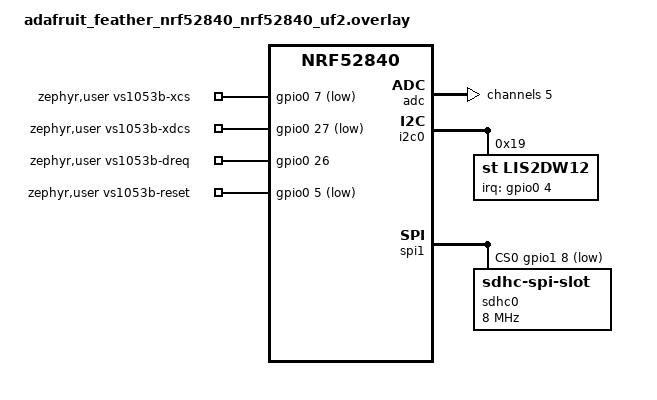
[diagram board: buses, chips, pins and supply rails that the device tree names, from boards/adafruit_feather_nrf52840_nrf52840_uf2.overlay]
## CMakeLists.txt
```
cmake_minimum_required(VERSION 3.20.0)
find_package(Zephyr REQUIRED HINTS $ENV{ZEPHYR_BASE})
project(bleatbox)

target_sources(app PRIVATE
    src/main.c
    src/accel.c
    src/battery.c
    src/vs1053b.c
    src/sdcard.c
    src/audio.c
    src/ble.c
    src/ota.c
    ${CMAKE_CURRENT_SOURCE_DIR}/../common/fw_image.c
    src/broadcast_log.c
    src/broadcast_log_core.c
    src/compose.c
    src/sounds.c
    src/wrap_to_range.c
    src/device_config.c
    src/device_config_parse.c
    src/sounds_match.c
    src/message.c
)

target_sources_ifdef(CONFIG_SHELL app PRIVATE
    src/shell.c
)

# fw_image.{c,h} is shared with the updater and host tests.
target_include_directories(app PRIVATE ${CMAKE_CURRENT_SOURCE_DIR}/../common)
```

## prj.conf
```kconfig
# Bluetooth
CONFIG_BT=y
CONFIG_BT_BROADCASTER=y
CONFIG_BT_OBSERVER=y
CONFIG_BT_EXT_ADV=y
CONFIG_BT_CTLR_ADV_EXT=y
# Two advertising sets: the mesh's non-connectable set + the OTA window's
# connectable set used for SMP-over-BLE.
CONFIG_BT_EXT_ADV_MAX_ADV_SET=2
CONFIG_BT_CTLR_ADV_DATA_LEN_MAX=128
CONFIG_BT_CTLR_SCAN_DATA_LEN_MAX=128
# Transmit at the nRF52840's maximum +8 dBm (default is 0 dBm) to extend mesh
# range. Applies to every role: the advertising bursts, relays, and the OTA
# connectable window.
CONFIG_BT_CTLR_TX_PWR_PLUS_8=y

# OTA: become connectable during an update window so an operator can push a
# firmware image over SMP-over-BLE. A per-device name is set at arm time.
CONFIG_BT_PERIPHERAL=y
CONFIG_BT_DEVICE_NAME_DYNAMIC=y
CONFIG_BT_DEVICE_NAME_MAX=24

# SMP / mcumgr over BLE — File System group for `mcumgr fs upload` of the
# image to the SD card, and OS group for `mcumgr reset` as a commit path.
# Image (img_mgmt) group is intentionally NOT used: no MCUboot here.
CONFIG_ZCBOR=y
CONFIG_MCUMGR=y
CONFIG_MCUMGR_TRANSPORT_BT=y
CONFIG_MCUMGR_GRP_FS=y
CONFIG_MCUMGR_GRP_OS=y

# SMP-over-BLE upload tuning (mirrors Zephyr's smp_svr bt.conf).
# REASSEMBLY lets an SMP request span several BLE writes — without it any
# upload chunk larger than one MTU is parsed as a corrupt frame (ECORRUPT).
# MCUMGR_PARAMS reports the buffer size so the host sizes chunks to fit; the
# larger MTU/ACL/data-length and 2475-byte netbuf make the transfer fast
# enough to finish inside the OTA window.
CONFIG_MCUMGR_TRANSPORT_BT_REASSEMBLY=y
CONFIG_MCUMGR_GRP_OS_MCUMGR_PARAMS=y
CONFIG_MCUMGR_TRANSPORT_NETBUF_SIZE=2475
CONFIG_MCUMGR_TRANSPORT_WORKQUEUE_STACK_SIZE=4608
CONFIG_MCUMGR_TRANSPORT_BT_CONN_PARAM_CONTROL=y
CONFIG_BT_L2CAP_TX_MTU=498
CONFIG_BT_BUF_ACL_RX_SIZE=502
CONFIG_BT_BUF_ACL_TX_SIZE=502
CONFIG_BT_CTLR_DATA_LENGTH_MAX=251

# GPIO
CONFIG_GPIO=y

# I2C (LIS2DW12 accelerometer)
CONFIG_I2C=y

# SPI
CONFIG_SPI=y

# ADC (battery voltage monitor via SAADC)
CONFIG_ADC=y

# Sensor subsystem (LIS2DW12 accelerometer)
CONFIG_SENSOR=y
CONFIG_LIS2DW12=y
CONFIG_LIS2DW12_TRIGGER_GLOBAL_THREAD=y
CONFIG_LIS2DW12_WAKEUP=y

# SD card (SDMMC auto-selects SD_STACK -> SDHC)
CONFIG_SDMMC_STACK=y

# Filesystem
CONFIG_FILE_SYSTEM=y
CONFIG_FAT_FILESYSTEM_ELM=y
CONFIG_FS_FATFS_LFN=y
CONFIG_FS_FATFS_LFN_MODE_HEAP=y

# Disk
CONFIG_DISK_ACCESS=y
CONFIG_DISK_DRIVERS=y

# Shell
CONFIG_SHELL=y
CONFIG_SHELL_STACK_SIZE=4096

# Reboot — the `bootloader` shell command reboots into the UF2 bootloader
CONFIG_REBOOT=y

# Logging
CONFIG_LOG=y
CONFIG_LOG_DEFAULT_LEVEL=3

# Random number generator
CONFIG_ENTROPY_GENERATOR=y
CONFIG_TEST_RANDOM_GENERATOR=n

# USB device descriptor
CONFIG_CDC_ACM_SERIAL_VID=0x2FE3
CONFIG_CDC_ACM_SERIAL_PID=0x0004
CONFIG_CDC_ACM_SERIAL_MANUFACTURER_STRING="BleatBox"
CONFIG_CDC_ACM_SERIAL_PRODUCT_STRING="BleatBox"

# Power management
CONFIG_PM=y
CONFIG_PM_DEVICE=y

# nRF52840 DC-DC converter (board has the required inductor; more
# efficient than the default LDO).  The board devicetree requests
# DCDC mode, but the regulator driver must be enabled to apply it.
CONFIG_REGULATOR=y

# System
# Heap raised from 8 KB to cover mcumgr/zcbor + SMP buffers during an OTA
# window (in addition to the FAT LFN heap).
CONFIG_HEAP_MEM_POOL_SIZE=16384
CONFIG_MAIN_STACK_SIZE=4096

# Stack overflow detection via MPU — zero runtime cost on nRF52840,
# catches corruption from FAT FS and SPI driver stack usage
CONFIG_HW_STACK_PROTECTION=y

# UF2 output for drag-and-drop flashing
CONFIG_BUILD_OUTPUT_UF2=y

# Use flash partition layout from device tree (UF2 bootloader)
CONFIG_USE_DT_CODE_PARTITION=y
```

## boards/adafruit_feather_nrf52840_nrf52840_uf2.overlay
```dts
/*
 * Devicetree overlay for Adafruit Feather nRF52840 Express
 * with Adafruit Music Maker FeatherWing (VS1053B + SD card)
 * and LIS2DW12 accelerometer.
 *
 * Feather pin mapping (nRF52840 GPIO):
 *   D5  = P1.08  ->  SD card CS (directly on FeatherWing)
 *   D6  = P0.07  ->  VS1053B XCS  (SCI command chip select)
 *   D9  = P0.26  ->  VS1053B DREQ (data request, active high)
 *   D10 = P0.27  ->  VS1053B XDCS (SDI data chip select)
 *   A0  = P0.04  ->  LIS2DW12 INT1 (wakeup interrupt)
 *   A1  = P0.05  ->  VS1053B XRESET (hardware reset, active low).
 *                    Requires the FeatherWing RST jumper cut and the
 *                    rst pad wired to A1; lets firmware hold the codec
 *                    in reset (~12 uA) when idle.
 *
 *   SPI bus (feather header):
 *     SCK  = P0.14
 *     MOSI = P0.13
 *     MISO = P0.15
 *
 *   I2C bus (feather header):
 *     SDA  = P0.12
 *     SCL  = P0.11
 *
 *   Battery sense (Feather rev D):
 *     P0.29 = AIN5  ->  VBAT through an on-board 100k/100k divider.
 *                       The divider (the `vbatt` node) is defined by the
 *                       board devicetree; this overlay only adds the
 *                       matching SAADC channel.
 */

#include <zephyr/dt-bindings/adc/adc.h>
#include <zephyr/dt-bindings/adc/nrf-saadc.h>

/* OTA flash split: updater @0x26000, this app @0x3e000. */
#include "../../common/bleatbox-partitions.dtsi"

/ {
	chosen {
		/* The app runs from main_app; the updater owns 0x26000. */
		zephyr,code-partition = &main_app;
	};

	aliases {
		sdhc0 = &sdhc0;
	};

	/*
	 * Application-specific GPIOs for the VS1053B codec.
	 * XCS and XDCS are SPI chip selects managed via spi_cs_control
	 * (not gpio-leds) so the SPI driver handles bus locking atomically.
	 * DREQ is a pure input — polled to gate SPI transfers.
	 * XRESET (active low) holds the codec in hardware reset when idle.
	 */
	zephyr,user {
		vs1053b-xcs-gpios = <&gpio0 7 GPIO_ACTIVE_LOW>;
		vs1053b-xdcs-gpios = <&gpio0 27 GPIO_ACTIVE_LOW>;
		vs1053b-dreq-gpios = <&gpio0 26 GPIO_ACTIVE_HIGH>;
		vs1053b-reset-gpios = <&gpio0 5 GPIO_ACTIVE_LOW>;
	};
};

&uart0 {
	status = "disabled";
};

/*
 * SAADC channel for the battery-sense divider on AIN5 (P0.29).
 * Gain 1/6 with the 0.6 V internal reference gives a 3.6 V full-scale
 * range, comfortably above the divided VBAT (~2.1 V at 4.2 V battery).
 */
&adc {
	#address-cells = <1>;
	#size-cells = <0>;

	channel@5 {
		reg = <5>;
		zephyr,gain = "ADC_GAIN_1_6";
		zephyr,reference = "ADC_REF_INTERNAL";
		zephyr,acquisition-time = <ADC_ACQ_TIME(ADC_ACQ_TIME_MICROSECONDS, 10)>;
		zephyr,input-positive = <NRF_SAADC_AIN5>;
		zephyr,resolution = <12>;
	};
};

&i2c0 {
	lis2dw12: lis2dw12@19 {
		compatible = "st,lis2dw12";
		reg = <0x19>;
		irq-gpios = <&gpio0 4 GPIO_ACTIVE_HIGH>;
		int-pin = <1>;
		power-mode = <0>; /* LP mode 1 (12-bit) */
		odr = <100>;
		range = <2>;
		wakeup-duration = <0>; /* 1 ODR cycle above threshold */
	};
};

&spi1 {
	status = "okay";
	cs-gpios = <&gpio1 8 GPIO_ACTIVE_LOW>;

	sdhc0: sdhc@0 {
		compatible = "zephyr,sdhc-spi-slot";
		reg = <0>;
		spi-max-frequency = <8000000>;
		status = "okay";

		mmc {
			compatible = "zephyr,sdmmc-disk";
			disk-name = "SD";
			status = "okay";
		};
	};
};
```

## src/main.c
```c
/*
 * BleatBox — Networked sound trigger firmware
 *
 * Hardware: Adafruit Feather nRF52840 Express
 *           Adafruit Music Maker FeatherWing (VS1053B codec + SD card)
 *           LIS2DW12 accelerometer on I2C0, INT1 on A0 (P0.04)
 *
 * Architecture: event-driven main loop.
 *
 * The vibration and BLE modules are pure event producers — they push
 * events into a shared k_msgq with no knowledge of each other or the
 * audio subsystem.  The main loop is the sole consumer: it waits for
 * events, decides whether to act, and orchestrates BLE broadcasting
 * and sound playback.
 */

#include <zephyr/kernel.h>
#include <zephyr/drivers/gpio.h>
#include <zephyr/logging/log.h>

#include "compose.h"
#include "device_config.h"
#include "events.h"
#include "accel.h"
#include "battery.h"
#include "sdcard.h"
#include "sounds.h"
#include "audio.h"
#include "ble.h"
#include "ota.h"

LOG_MODULE_REGISTER(bleatbox, LOG_LEVEL_INF);

/* ------------------------------------------------------------------ */
/* Onboard LED (boot indicator)                                       */
/* ------------------------------------------------------------------ */

#define LED0_NODE DT_ALIAS(led0)
static const struct gpio_dt_spec g_led = GPIO_DT_SPEC_GET(LED0_NODE, gpios);

/* ------------------------------------------------------------------ */
/* Compile-time configuration                                         */
/* ------------------------------------------------------------------ */

/* Sound played locally when this device detects vibration. */
#define VIBRATION_SOUND_INDEX 0

/* ------------------------------------------------------------------ */
/* Event queue                                                        */
/* ------------------------------------------------------------------ */

/*
 * Depth 4: enough to buffer a burst of events while the main loop
 * is handling one.  Excess events are silently dropped at the
 * producer (k_msgq_put with K_NO_WAIT), which is the desired
 * behavior — we never queue up a backlog of sounds.
 */
#define EVENT_QUEUE_DEPTH 4
K_MSGQ_DEFINE(event_q, sizeof(struct event), EVENT_QUEUE_DEPTH, 4);

/* ------------------------------------------------------------------ */
/* Vibration cooldown                                                 */
/* ------------------------------------------------------------------ */

#define VIBRATION_COOLDOWN_MS 1000

static volatile bool g_drop_vibration_events;

static void cooldown_expired(struct k_timer *timer)
{
    ARG_UNUSED(timer);
    g_drop_vibration_events = false;
    LOG_INF("Vibration cooldown expired");
}

static K_TIMER_DEFINE(g_vibration_cooldown_timer, cooldown_expired, NULL);

/* ------------------------------------------------------------------ */
/* Event handlers                                                     */
/* ------------------------------------------------------------------ */

static void handle_vibration(void)
{
    if (ota_is_active()) {
        LOG_INF("Vibration dropped — OTA update in progress");
        return;
    }

    /*
     * A playing sound (e.g. a BLE-assigned one) shakes the enclosure;
     * don't broadcast assignments for vibration we likely caused
     * ourselves while our own playback request would be discarded.
     * This also covers the window between a claim and the main loop
     * processing its EVENT_AUDIO_START.
     */
    if (audio_is_playing()) {
        LOG_INF("Vibration dropped — sound already playing");
        return;
    }

    LOG_INF("Vibration detected");

    char path[32];
    int ret = sounds_get_path(SOUND_TYPE_GOAT, VIBRATION_SOUND_INDEX,
                              path, sizeof(path));
    if (ret) {
        LOG_ERR("Cannot resolve sound %u: %d", VIBRATION_SOUND_INDEX, ret);
        return;
    }

    if (audio_play_sound(path, 0)) {
        /* Lost a race with another codec claim — don't broadcast a
         * message for a sound we didn't play. */
        return;
    }

    uint8_t payload[16];
    int err = compose_message(payload);
    if (err) {
        LOG_WRN("Message compose failed (%d) — check config and sound count",
                err);
        return;
    }

    LOG_INF("Broadcasting bleat message");
    ble_broadcast_message(payload);
}

static void handle_ble_rx(const struct event *evt)
{
    if (ota_is_active()) {
        LOG_INF("BLE RX dropped — OTA update in progress");
        return;
    }

    if (audio_is_playing()) {
        LOG_INF("BLE RX dropped — sound already playing");
        return;
    }

    enum sound_type type = ble_sound_decode_type(evt->sound);
    uint8_t index = ble_sound_decode_index(evt->sound);
    const char *type_name = (type == SOUND_TYPE_MISC) ? "misc" : "goat";

    char path[32];
    int ret = sounds_get_path(type, index, path, sizeof(path));
    if (ret) {
        LOG_WRN("BLE RX dropped — no %s sound %u", type_name, index);
        return;
    }

    LOG_INF("BLE RX assignment: %s sound %u delay=%u ms",
            type_name, index, evt->delay_ms);

    audio_play_sound(path, evt->delay_ms);
}

/* ------------------------------------------------------------------ */
/* Main                                                               */
/* ------------------------------------------------------------------ */

int main(void)
{
    LOG_INF("BleatBox firmware starting");

    /* --- Boot indicator (blink LED 3 times) --- */
    if (gpio_is_ready_dt(&g_led)) {
        gpio_pin_configure_dt(&g_led, GPIO_OUTPUT_INACTIVE);
        for (int i = 0; i < 3; i++) {
            gpio_pin_set_dt(&g_led, 1);
            k_msleep(100);
            gpio_pin_set_dt(&g_led, 0);
            k_msleep(100);
        }
    }

    if (audio_init(&event_q)) {
        LOG_ERR("Audio init failed — playback disabled");
    }
    sdcard_init();
    sounds_init();
    if (accel_init(&event_q)) {
        LOG_ERR("Accelerometer init failed — vibration triggers disabled");
    }
    if (battery_init()) {
        LOG_ERR("Battery monitor init failed — battery reads disabled");
    }
    if (ble_init(&event_q)) {
        LOG_ERR("BLE init failed — broadcasts and relays disabled");
    }
    if (ota_init(&event_q)) {
        LOG_ERR("OTA init failed — over-the-air updates disabled");
    }

    struct device_config cfg;
    device_config_defaults(&cfg);

    if (sdcard_mount()) {
        LOG_ERR("SD card mount failed — playback disabled, using default config");
    } else {
        if (sounds_scan()) {
            LOG_ERR("Sound scan failed — playback disabled");
        }
        if (device_config_load(&cfg)) {
            LOG_ERR("Device config load failed — using default config");
            device_config_defaults(&cfg);
        }
    }

    /* --- Volume from config --- */
    audio_set_volume(cfg.volume);

    /* --- Message composition config --- */
    compose_init(cfg.delay_min_ms, cfg.delay_max_ms,
                 VIBRATION_SOUND_INDEX + 1,
                 sounds_get_count(SOUND_TYPE_GOAT));

    /* --- Start producers (any-motion interrupt, BLE scan) --- */
    if (accel_start(cfg.accel_threshold_mg)) {
        LOG_ERR("Accelerometer start failed — vibration triggers disabled");
    }
    if (ble_start(cfg.id, cfg.relay_ttl)) {
        LOG_ERR("BLE start failed — broadcasts and relays disabled");
    }
    ota_set_device_id(cfg.id);

    g_drop_vibration_events = false;

    LOG_INF("BleatBox ready — waiting for events");

    /* --- Event loop --- */
    struct event evt;
    for (;;) {
        /*
         * Block until an event arrives.  While blocked, the idle
         * thread runs and the nRF52840 enters System ON idle (ARM
         * WFE) — the lowest power state that keeps BLE scanning
         * alive.
         */
        k_msgq_get(&event_q, &evt, K_FOREVER);

        switch (evt.type) {
        case EVENT_VIBRATION:
            if (g_drop_vibration_events) {
                LOG_INF("Vibration dropped — cooldown active");
            } else {
                handle_vibration();
            }
            break;
        case EVENT_BLE_RX:
            handle_ble_rx(&evt);
            break;
        case EVENT_AUDIO_START:
            /*
             * Suppress vibration triggers for the whole audio
             * session. Stop any pending cooldown timer so a stale
             * expiry from a previous playback can't clear the flag
             * while this one is still running.
             */
            k_timer_stop(&g_vibration_cooldown_timer);
            g_drop_vibration_events = true;
            break;
        case EVENT_AUDIO_DONE:
            /* Keep suppressing until the enclosure rings down. */
            k_timer_start(&g_vibration_cooldown_timer,
                          K_MSEC(VIBRATION_COOLDOWN_MS), K_NO_WAIT);
            break;
        case EVENT_OTA_ARM:
            ota_start();
            break;
        case EVENT_OTA_CANCEL:
            ota_cancel();
            break;
        }
    }

    return 0; /* unreachable */
}
```

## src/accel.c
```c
/*
 * LIS2DW12 accelerometer — wakeup event producer.
 */

#include <zephyr/kernel.h>
#include <zephyr/device.h>
#include <zephyr/devicetree.h>
#include <zephyr/drivers/i2c.h>
#include <zephyr/drivers/sensor.h>
#include <zephyr/logging/log.h>

#include "accel.h"
#include "events.h"

LOG_MODULE_REGISTER(accel, LOG_LEVEL_INF);

#define LIS2DW12_REG_CTRL1 0x20

/*
 * 100 Hz, low-power mode 1: ODR[7:4]=0101, MODE[3:2]=00, LP_MODE[1:0]=01.
 */
#define LIS2DW12_ODR_100HZ_LP1 0x51

static const struct device *g_accel_dev =
    DEVICE_DT_GET(DT_NODELABEL(lis2dw12));

static const struct i2c_dt_spec g_i2c_spec =
    I2C_DT_SPEC_GET(DT_NODELABEL(lis2dw12));

static struct k_msgq *g_evt_q;

/* Set in accel_init() once the device is confirmed ready; gates
 * accel_start() so it never touches an unready peripheral. */
static bool g_ready;

/* Most recent threshold applied via accel_set_threshold(), in milli-g.
 * 0 until the first successful set (accel_start() applies the configured
 * value during startup). */
static uint16_t g_threshold_mg;

/*
 * The sensor API stores this pointer (the LIS2DW12 driver hands it
 * back on every interrupt), so it must outlive accel_init().
 */
static const struct sensor_trigger g_motion_trigger = {
    .type = SENSOR_TRIG_MOTION,
    .chan = SENSOR_CHAN_ACCEL_XYZ,
};

static void accel_trigger_handler(const struct device *dev,
                                  const struct sensor_trigger *trig)
{
    struct event evt = {.type = EVENT_VIBRATION};
    k_msgq_put(g_evt_q, &evt, K_NO_WAIT);
}

int accel_init(struct k_msgq *event_q)
{
    g_evt_q = event_q;
    g_threshold_mg = 0;
    g_ready = device_is_ready(g_accel_dev);

    if (!g_ready) {
        LOG_ERR("LIS2DW12 device not ready");
        return -ENODEV;
    }

    LOG_INF("LIS2DW12 initialized");
    return 0;
}

int accel_set_threshold(uint16_t threshold_mg)
{
    if (!g_ready) {
        return -ENODEV;
    }

    /* Set wakeup threshold via the driver's attr interface.
     * Convert mg to m/s²: val = mg * 9.807 / 1000. */
    uint32_t ums2 = (uint32_t)threshold_mg * 9807;
    struct sensor_value threshold_val = {
        .val1 = ums2 / 1000000,
        .val2 = ums2 % 1000000,
    };

    int ret = sensor_attr_set(g_accel_dev, SENSOR_CHAN_ACCEL_XYZ,
                              SENSOR_ATTR_UPPER_THRESH, &threshold_val);
    if (ret) {
        LOG_ERR("Failed to set wakeup threshold: %d", ret);
        return ret;
    }

    g_threshold_mg = threshold_mg;
    return 0;
}

int accel_get_threshold(uint16_t *threshold_mg)
{
    if (!g_ready) {
        return -ENODEV;
    }

    *threshold_mg = g_threshold_mg;
    return 0;
}

int accel_start(uint16_t threshold_mg)
{
    if (!g_ready) {
        return -ENODEV;
    }

    int ret = accel_set_threshold(threshold_mg);
    if (ret) {
        return ret;
    }

    /* Register wakeup trigger — begins producing EVENT_VIBRATION. */
    ret = sensor_trigger_set(g_accel_dev, &g_motion_trigger,
                             accel_trigger_handler);
    if (ret) {
        LOG_ERR("Failed to set trigger: %d", ret);
        return ret;
    }

    LOG_INF("LIS2DW12 started — threshold %u mg", threshold_mg);
    return 0;
}

int accel_sample_xyz(struct sensor_value *x,
                     struct sensor_value *y,
                     struct sensor_value *z)
{
    int ret = sensor_sample_fetch(g_accel_dev);
    if (ret) {
        return ret;
    }

    ret = sensor_channel_get(g_accel_dev, SENSOR_CHAN_ACCEL_X, x);
    if (ret) {
        return ret;
    }
    ret = sensor_channel_get(g_accel_dev, SENSOR_CHAN_ACCEL_Y, y);
    if (ret) {
        return ret;
    }
    return sensor_channel_get(g_accel_dev, SENSOR_CHAN_ACCEL_Z, z);
}

int accel_odr_boost(uint8_t *prev_ctrl1)
{
    int ret = i2c_reg_read_byte_dt(&g_i2c_spec, LIS2DW12_REG_CTRL1,
                                   prev_ctrl1);
    if (ret) {
        return ret;
    }
    return i2c_reg_write_byte_dt(&g_i2c_spec, LIS2DW12_REG_CTRL1,
                                 LIS2DW12_ODR_100HZ_LP1);
}

int accel_odr_restore(uint8_t prev_ctrl1)
{
    return i2c_reg_write_byte_dt(&g_i2c_spec, LIS2DW12_REG_CTRL1,
                                 prev_ctrl1);
}
```

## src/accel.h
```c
/*
 * LIS2DW12 accelerometer — wakeup event producer.
 *
 * Configures the accelerometer in low-power mode with a wakeup
 * interrupt threshold and pushes EVENT_VIBRATION into the provided
 * message queue on each trigger.
 */

#ifndef ACCEL_H_
#define ACCEL_H_

#include <zephyr/kernel.h>
#include <zephyr/drivers/sensor.h>

/**
 * Initialize the LIS2DW12 accelerometer module.
 *
 * Stores the event queue and verifies the device is ready.  Does not
 * configure or arm the wakeup interrupt — call accel_start() for that.
 *
 * @param event_q       Message queue to push EVENT_VIBRATION events into.
 * @return 0 on success, negative errno on failure.
 */
int accel_init(struct k_msgq *event_q);

/**
 * Configure the wakeup threshold and arm the motion trigger.
 *
 * After this call the accelerometer begins pushing EVENT_VIBRATION
 * events into the queue passed to accel_init().
 *
 * @param threshold_mg  Wakeup threshold in milli-g (e.g. 200 = 200 mg).
 * @return 0 on success, negative errno on failure (including -ENODEV
 *         if accel_init() did not succeed).
 */
int accel_start(uint16_t threshold_mg);

/**
 * Update the wakeup threshold on the live accelerometer.
 *
 * Applies immediately without re-arming the trigger; does not persist
 * to the SD-card config.
 *
 * @param threshold_mg  Wakeup threshold in milli-g (e.g. 200 = 200 mg).
 * @return 0 on success, negative errno on failure (including -ENODEV
 *         if accel_init() did not succeed).
 */
int accel_set_threshold(uint16_t threshold_mg);

/**
 * Get the most recently applied wakeup threshold.
 *
 * @param[out] threshold_mg  Current threshold in milli-g.
 * @return 0 on success, -ENODEV if accel_init() did not succeed.
 */
int accel_get_threshold(uint16_t *threshold_mg);

/**
 * Read a single XYZ acceleration sample.
 *
 * @param[out] x  X-axis acceleration.
 * @param[out] y  Y-axis acceleration.
 * @param[out] z  Z-axis acceleration.
 * @return 0 on success, negative errno on failure.
 */
int accel_sample_xyz(struct sensor_value *x,
                     struct sensor_value *y,
                     struct sensor_value *z);

/**
 * Temporarily set the ODR to 100 Hz for interactive sampling.
 *
 * @param[out] prev_ctrl1  Previous CTRL1 register value (for restore).
 * @return 0 on success, negative errno on failure.
 */
int accel_odr_boost(uint8_t *prev_ctrl1);

/**
 * Restore the CTRL1 register to a previous value.
 *
 * @param prev_ctrl1  Value returned by accel_odr_boost().
 * @return 0 on success, negative errno on failure.
 */
int accel_odr_restore(uint8_t prev_ctrl1);

#endif /* ACCEL_H_ */
```

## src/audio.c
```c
/*
 * Audio subsystem — sound playback via VS1053B codec.
 *
 * Playback runs on a dedicated background thread.  audio_play_sound()
 * signals the thread and returns immediately so the caller is never
 * blocked during audio streaming.
 */

#include <zephyr/kernel.h>
#include <zephyr/device.h>
#include <zephyr/devicetree.h>
#include <zephyr/drivers/spi.h>
#include <zephyr/fs/fs.h>
#include <zephyr/logging/log.h>
#include <zephyr/sys/atomic.h>

#include <string.h>

#include "audio.h"
#include "events.h"
#include "sdcard.h"
#include "vs1053b.h"

LOG_MODULE_REGISTER(audio, LOG_LEVEL_INF);

/*
 * Optional VS1053B firmware patch, applied after every power-up
 * (hardware reset wipes it).  Compiled by scripts/compile_patch.py;
 * absent file means no patch — not an error.
 */
#define AUDIO_PATCH_PATH SDCARD_MOUNT_POINT "/patch.bin"

/* ------------------------------------------------------------------ */
/* Hardware                                                           */
/* ------------------------------------------------------------------ */

static const struct device *g_spi_dev = DEVICE_DT_GET(DT_NODELABEL(spi1));
static struct k_msgq *g_event_q;

/*
 * Set (via compare-and-set) by whoever claims the codec — a playback
 * request or the sine test — and cleared when the codec goes idle.
 */
static atomic_t g_playing;

/* Sine test currently running.  Only touched by audio_sine_test()
 * (shell thread), under the g_playing claim. */
static bool g_sine_active;

/* Set in audio_init() once the SPI bus and codec are up.  When false
 * (init failed), every operate path is a graceful no-op so the rest of
 * the system still runs without a usable codec. */
static bool g_ready;

#define SOUND_PATH_MAX 32

struct play_request {
    char path[SOUND_PATH_MAX];
    uint16_t delay_ms;
};

K_MSGQ_DEFINE(g_play_q, sizeof(struct play_request), 1, 4);

#define AUDIO_STACK_SIZE 4096
#define AUDIO_PRIORITY 5

static void playback_thread(void *p1, void *p2, void *p3);
K_THREAD_DEFINE(audio_tid, AUDIO_STACK_SIZE,
                playback_thread, NULL, NULL, NULL,
                AUDIO_PRIORITY, 0, 0);

int audio_init(struct k_msgq *event_q)
{
    g_event_q = event_q;
    atomic_set(&g_playing, 0);
    g_sine_active = false;
    g_ready = false;

    if (!device_is_ready(g_spi_dev)) {
        LOG_ERR("SPI device not ready — audio disabled");
        return -ENODEV;
    }

    int ret = vs1053b_init(g_spi_dev);
    if (ret) {
        LOG_ERR("VS1053B init failed: %d — audio disabled", ret);
        return ret;
    }

    /* vs1053b_init() leaves the codec in hardware reset (~12 uA) until
     * the first playback.  audio_set_volume() can still be called — it
     * caches the value that vs1053b_power_up() applies on wake. */

    g_ready = true;
    LOG_INF("Audio initialized");
    return 0;
}

/*
 * Read one big-endian uint16_t from the file.
 * Returns 0 on success, -EIO on short/failed read.
 */
static int read_u16(struct fs_file_t *f, uint16_t *val)
{
    uint8_t buf[2];

    if (fs_read(f, buf, 2) != 2) {
        return -EIO;
    }
    *val = ((uint16_t)buf[0] << 8) | buf[1];
    return 0;
}

/*
 * Patch file format (repeated until EOF), as written by
 * scripts/compile_patch.py:
 *   [register: 1 byte] [count: 2 bytes BE] [data: count x 2 bytes BE]
 */
static int apply_patch_records(struct fs_file_t *f)
{
    for (;;) {
        uint8_t reg;
        ssize_t n = fs_read(f, &reg, 1);
        if (n == 0) {
            return 0; /* EOF — all records applied */
        }
        if (n != 1) {
            return -EIO; /* read error is not EOF — don't claim success */
        }

        uint16_t count;
        int ret = read_u16(f, &count);
        if (ret) {
            return ret;
        }

        for (uint16_t i = 0; i < count; i++) {
            uint16_t val;
            ret = read_u16(f, &val);
            if (ret) {
                return ret;
            }
            ret = vs1053b_write_reg(reg, val);
            if (ret) {
                return ret;
            }
        }
    }
}

/* A missing patch file is normal; anything else is logged. */
static void apply_patch_if_present(void)
{
    /* Stat first: a missing patch is the common case, and fs_open would log
     * its own "file open error" for it.  fs_stat treats -ENOENT as a normal,
     * unlogged result, so the no-patch path stays quiet. */
    struct fs_dirent entry;

    if (fs_stat(AUDIO_PATCH_PATH, &entry) < 0) {
        return;
    }

    struct fs_file_t f;
    fs_file_t_init(&f);

    if (fs_open(&f, AUDIO_PATCH_PATH, FS_O_READ) < 0) {
        return;
    }

    int ret = apply_patch_records(&f);
    fs_close(&f);

    if (ret) {
        LOG_ERR("Patch %s failed: %d", AUDIO_PATCH_PATH, ret);
    } else {
        LOG_INF("Patch %s applied", AUDIO_PATCH_PATH);
    }
}

int audio_get_volume(uint8_t *percent)
{
    if (!g_ready) {
        return -ENODEV;
    }
    return vs1053b_get_volume(percent);
}

int audio_set_volume(uint8_t percent)
{
    if (!g_ready) {
        return -ENODEV;
    }
    return vs1053b_set_volume(percent);
}

/* ------------------------------------------------------------------ */
/* Playback thread                                                    */
/* ------------------------------------------------------------------ */

/*
 * Post an audio session event to the main loop.  Unlike trigger
 * events, START and DONE must not be dropped — the main loop tracks
 * them as pairs to run its vibration suppression.  Block until a
 * slot frees: the main loop always drains the queue and never waits
 * on this thread, so this is brief and cannot deadlock.
 */
static void post_audio_event(enum event_type type)
{
    if (!g_event_q) {
        return;
    }

    struct event evt = {.type = type};
    k_msgq_put(g_event_q, &evt, K_FOREVER);
}

/*
 * Mark the audio session over and notify the main loop.  Must run on
 * every exit path of a playback request — a skipped EVENT_AUDIO_DONE
 * leaves the main loop's vibration cooldown stuck forever.
 */
static void finish_request(void)
{
    post_audio_event(EVENT_AUDIO_DONE);

    /*
     * Clear the claim only after AUDIO_DONE is queued: any vibration
     * event that arrives once the codec reads as idle is then ordered
     * behind AUDIO_DONE in the queue, so the main loop restarts the
     * cooldown before it can act on the vibration.
     */
    atomic_set(&g_playing, 0);
}

static void playback_thread(void *p1, void *p2, void *p3)
{
    ARG_UNUSED(p1);
    ARG_UNUSED(p2);
    ARG_UNUSED(p3);

    for (;;) {
        struct play_request req;
        if (k_msgq_get(&g_play_q, &req, K_FOREVER)) {
            continue;
        }
        LOG_INF("Received playback request: path=%s delay=%u ms", req.path, req.delay_ms);

        /* The session covers the delay too — the device is committed
         * to this sound and must not trigger on stray vibration. */
        post_audio_event(EVENT_AUDIO_START);

        if (req.delay_ms > 0) {
            LOG_INF("Delaying playback for %u ms", req.delay_ms);
            k_msleep(req.delay_ms);
        }

        /* Hold the FS lock for the whole open..close span: FatFs is not
         * thread-safe, so a config rewrite must not touch the volume while
         * we stream this file. */
        sdcard_lock();

        struct fs_file_t f;
        fs_file_t_init(&f);
        int ret = fs_open(&f, req.path, FS_O_READ);
        if (ret < 0) {
            LOG_ERR("Cannot open %s: %d", req.path, ret);
            sdcard_unlock();
            finish_request();
            continue;
        }

        ret = vs1053b_power_up();
        if (ret) {
            LOG_ERR("Codec power-up failed: %d", ret);
            vs1053b_power_down();
            fs_close(&f);
            sdcard_unlock();
            finish_request();
            continue;
        }
        apply_patch_if_present();

        LOG_INF("Playing %s", req.path);

        uint8_t buf[VS1053B_DATA_CHUNK];
        ssize_t nread;
        while ((nread = fs_read(&f, buf, sizeof(buf))) > 0) {
            ret = vs1053b_write_data(buf, nread);
            if (ret) {
                LOG_ERR("Playback aborted: SPI error");
                break;
            }
        }
        if (nread < 0) {
            LOG_ERR("Read error on %s: %d", req.path, (int)nread);
        }

        fs_close(&f);
        sdcard_unlock();
        vs1053b_end_playback();
        vs1053b_power_down();
        finish_request();
        LOG_INF("Playback finished");
    }
}

/* ------------------------------------------------------------------ */
/* Public API                                                         */
/* ------------------------------------------------------------------ */

bool audio_is_playing(void)
{
    return atomic_get(&g_playing) != 0;
}

int audio_play_sound(const char *path, uint16_t delay_ms)
{
    if (!g_ready) {
        LOG_WRN("audio_play_sound — audio disabled (codec init failed)");
        return -ENODEV;
    }

    if (!atomic_cas(&g_playing, 0, 1)) {
        LOG_WRN("audio_play_sound called while already playing — ignored");
        return -EBUSY;
    }

    struct play_request req = {.delay_ms = delay_ms};
    strncpy(req.path, path, sizeof(req.path) - 1);
    req.path[sizeof(req.path) - 1] = '\0';

    if (k_msgq_put(&g_play_q, &req, K_NO_WAIT)) {
        /* Unreachable — a successful claim means the previous request
         * was drained from the queue — but don't strand the claim if
         * that ever changes. */
        LOG_ERR("Playback request dropped — queue full");
        atomic_set(&g_playing, 0);
        return -EAGAIN;
    }
    return 0;
}

int audio_sine_test(bool enable)
{
    if (!g_ready) {
        return -ENODEV;
    }

    if (enable) {
        if (g_sine_active) {
            return 0;
        }

        /* Claim the codec like a playback request: trigger events are
         * dropped by the audio_is_playing() gates while the tone runs,
         * and playback cannot start until the test is stopped. */
        if (!atomic_cas(&g_playing, 0, 1)) {
            return -EBUSY;
        }

        int ret = vs1053b_power_up();
        if (ret == 0) {
            ret = vs1053b_sine_test(true);
        }
        if (ret) {
            /* No START was posted, so no DONE is owed — just release
             * the claim. */
            vs1053b_power_down();
            atomic_set(&g_playing, 0);
            return ret;
        }

        g_sine_active = true;
        post_audio_event(EVENT_AUDIO_START);
        return 0;
    }

    if (!g_sine_active) {
        return -EALREADY;
    }

    int ret = vs1053b_sine_test(false);
    vs1053b_power_down();
    g_sine_active = false;

    /* End the session exactly like a finished playback — DONE arms
     * the cooldown, since the tone shook the enclosure just like a
     * real sound. */
    finish_request();
    return ret;
}
```

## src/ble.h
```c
/*
 * BLE subsystem — extended advertising and scanning.
 *
 * Produces EVENT_BLE_RX events when a matching broadcast is received.
 * Has no knowledge of the audio subsystem.
 */

#ifndef BLE_H_
#define BLE_H_

#include <zephyr/kernel.h>
#include <stdint.h>

#include "ble_encode.h"

/**
 * Initialize Bluetooth: enable the stack, create the extended
 * advertising set, and register the scan callback.  Does not start
 * scanning — call ble_start() for that.
 *
 * @param event_q    Message queue to push EVENT_BLE_RX events into.
 * @return 0 on success, negative errno on failure.
 */
int ble_init(struct k_msgq *event_q);

/**
 * Start scanning for peer broadcasts.
 *
 * After this call the BLE module pushes EVENT_BLE_RX events into the
 * queue passed to ble_init() and relays packets up to @p relay_ttl hops.
 *
 * @param device_id  This device's 1-based ID from the SD-card config.  It
 *                    stamps our broadcasts and selects our message slot
 *                    (id - 1); ids of 0 or above the slot count only relay.
 * @param relay_ttl  Maximum relay hops.  0 disables relaying.
 * @return 0 on success, negative errno on failure (including -ENODEV
 *         if ble_init() did not succeed).
 */
int ble_start(uint8_t device_id, uint8_t relay_ttl);

/**
 * Update the relay TTL applied to outgoing and relayed packets.
 *
 * @param relay_ttl  Maximum relay hops.  0 disables relaying.
 * @return 0 on success, -ENODEV if ble_init() did not succeed.
 */
int ble_set_relay_ttl(uint8_t relay_ttl);

/**
 * Get the relay TTL currently applied to outgoing and relayed packets.
 *
 * @param[out] relay_ttl  Current maximum relay hops.
 * @return 0 on success, -ENODEV if ble_init() did not succeed.
 */
int ble_get_relay_ttl(uint8_t *relay_ttl);

/**
 * Update this device's id: restamps outgoing broadcasts as the new originator
 * and re-selects the playback slot (id - 1).  Does not restart scanning.
 *
 * @param device_id  New device id.
 * @return 0 on success, -ENODEV if ble_init() did not succeed.
 */
int ble_set_device_id(uint8_t device_id);

/**
 * Get this device's active id.
 *
 * @param[out] device_id  Current device id.
 * @return 0 on success, -ENODEV if ble_init() did not succeed.
 */
int ble_get_device_id(uint8_t *device_id);

/**
 * Broadcast a 16-byte message payload via BLE extended advertising.
 *
 * The BLE module stamps the packet with this device as originator, an
 * auto-incremented sequence number, and the configured relay TTL.  Build the
 * payload with the message_* helpers (e.g. via compose_message()).
 *
 * @param payload  16-byte message payload to send.
 * @return 0 on success, or a negative errno on BLE failure.
 */
int ble_broadcast_message(const uint8_t payload[16]);

/**
 * Pause the mesh: stop scanning so the BLE controller is free for other use
 * (the OTA window's connectable advertising).  Continuous scanning otherwise
 * starves the connectable advertisement.  Call ble_resume() to restart.
 */
void ble_pause(void);

/** Resume the mesh after ble_pause(): restart scanning. */
void ble_resume(void);

#endif /* BLE_H_ */
```

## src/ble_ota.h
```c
#ifndef BLE_OTA_H_
#define BLE_OTA_H_

#include <stdbool.h>
#include <stdint.h>
#include <string.h>

#include "message.h"

/*
 * OTA arming rides inside the standard 16-byte message payload, exactly like a
 * bleat — so a Mac can open a box's update window the same way it sends a
 * tissue-pull (see scripts/bleatctl.py).  It is marked by a dedicated value in
 * the 2-bit global command field (message.h reserves command values 01/10/11;
 * OTA claims 01).
 *
 * There is nothing else to encode: an armed box becomes connectable for SMP,
 * and the operator drives everything else (upload the image, reboot) over that
 * connection.  Commit/cancel are not on-air commands — an armed box stops
 * scanning, so it could not hear them anyway.
 *
 * Pure and header-only (it only needs MESSAGE_CMD_OFFSET from message.h, a
 * compile-time constant) so it links into the host tests without message.c.
 */

#define BLE_OTA_CMD 0x01 /* message command value: arm for OTA */

/* Read the 2-bit message command field (LSB-first at MESSAGE_CMD_OFFSET). */
static inline uint8_t ble_ota_get_command(const uint8_t payload[16])
{
    uint8_t cmd = 0;
    for (unsigned int i = 0; i < 2; i++) {
        unsigned int bit = MESSAGE_CMD_OFFSET + i;
        cmd |= (uint8_t)(((payload[bit >> 3] >> (bit & 7)) & 1u) << i);
    }
    return cmd;
}

/* Write the 2-bit message command field. */
static inline void ble_ota_set_command(uint8_t payload[16], uint8_t cmd)
{
    for (unsigned int i = 0; i < 2; i++) {
        unsigned int bit = MESSAGE_CMD_OFFSET + i;
        uint8_t mask = (uint8_t)(1u << (bit & 7));
        if ((cmd >> i) & 1u) {
            payload[bit >> 3] |= mask;
        } else {
            payload[bit >> 3] &= (uint8_t)~mask;
        }
    }
}

/* Build an OTA-arm payload: zero the play-slots and set the command field. */
static inline void ble_ota_encode(uint8_t payload[16])
{
    memset(payload, 0, 16);
    ble_ota_set_command(payload, BLE_OTA_CMD);
}

/* True if @p payload is an OTA-arm command rather than a play message. */
static inline bool ble_ota_is_arm(const uint8_t payload[16])
{
    return ble_ota_get_command(payload) == BLE_OTA_CMD;
}

#endif /* BLE_OTA_H_ */
```

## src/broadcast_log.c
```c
/*
 * Broadcast log — thread-safe wrapper around the lock-free core.
 */

#include <zephyr/kernel.h>

#include "broadcast_log.h"
#include "broadcast_log_core.h"

static struct broadcast_log g_log;
static struct k_spinlock g_lock;

void broadcast_log_init(void)
{
    k_spinlock_key_t key = k_spin_lock(&g_lock);
    broadcast_log_core_init(&g_log);
    k_spin_unlock(&g_lock, key);
}

bool broadcast_log_check_and_record(uint8_t originator, uint16_t seq)
{
    k_spinlock_key_t key = k_spin_lock(&g_lock);
    bool duplicate = broadcast_log_core_check_and_record(&g_log,
                                                         originator, seq);
    k_spin_unlock(&g_lock, key);
    return duplicate;
}

void broadcast_log_record(uint8_t originator, uint16_t seq)
{
    k_spinlock_key_t key = k_spin_lock(&g_lock);
    broadcast_log_core_record(&g_log, originator, seq);
    k_spin_unlock(&g_lock, key);
}
```

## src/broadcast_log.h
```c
#ifndef BROADCAST_LOG_H_
#define BROADCAST_LOG_H_

#include <stdbool.h>
#include <stdint.h>

/**
 * Initialize (or reset) the broadcast log.
 */
void broadcast_log_init(void);

/**
 * Check whether (originator, seq) has been seen before, and record it
 * if not.  Atomically locked — safe to call from any thread context.
 *
 * @return true if the pair was already in the log (duplicate).
 */
bool broadcast_log_check_and_record(uint8_t originator, uint16_t seq);

/**
 * Unconditionally record (originator, seq) in the log.
 * Use when the caller knows the entry is new (e.g. its own broadcast).
 */
void broadcast_log_record(uint8_t originator, uint16_t seq);

#endif /* BROADCAST_LOG_H_ */
```

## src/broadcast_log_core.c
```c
/*
 * Broadcast log core — pure data structure logic with no platform
 * dependencies.  The locking wrapper lives in broadcast_log.c.
 */

#include <string.h>

#include "broadcast_log_core.h"

static bool check(const struct broadcast_log *log,
                  uint8_t originator, uint16_t seq)
{
    for (int i = 0; i < log->count; i++) {
        if (log->entries[i].originator == originator &&
            log->entries[i].seq == seq) {
            return true;
        }
    }
    return false;
}

static void record(struct broadcast_log *log,
                   uint8_t originator, uint16_t seq)
{
    log->entries[log->next].originator = originator;
    log->entries[log->next].seq = seq;
    log->next = (log->next + 1) % BROADCAST_LOG_SIZE;
    if (log->count < BROADCAST_LOG_SIZE) {
        log->count++;
    }
}

void broadcast_log_core_init(struct broadcast_log *log)
{
    memset(log->entries, 0, sizeof(log->entries));
    log->next = 0;
    log->count = 0;
}

bool broadcast_log_core_check_and_record(struct broadcast_log *log,
                                         uint8_t originator, uint16_t seq)
{
    bool duplicate = check(log, originator, seq);
    if (!duplicate) {
        record(log, originator, seq);
    }
    return duplicate;
}

void broadcast_log_core_record(struct broadcast_log *log,
                               uint8_t originator, uint16_t seq)
{
    record(log, originator, seq);
}
```

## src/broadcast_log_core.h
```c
#ifndef BROADCAST_LOG_CORE_H_
#define BROADCAST_LOG_CORE_H_

#include <stdbool.h>
#include <stdint.h>

/*
 * Sized well above the fleet size so a burst of broadcasts from every
 * device can't evict entries whose packets are still being relayed around
 * the mesh.  Also gives the reserved macOS-message originator a seq space
 * (8 bits) far larger than this ring, so a fresh message is never dropped
 * as a stale duplicate.
 */
#define BROADCAST_LOG_SIZE 32

struct broadcast_log_entry {
    uint8_t  originator;
    uint16_t seq;
};

struct broadcast_log {
    struct broadcast_log_entry entries[BROADCAST_LOG_SIZE];
    uint8_t next;
    uint8_t count;
};

/**
 * Initialize (or reset) a broadcast log.
 */
void broadcast_log_core_init(struct broadcast_log *log);

/**
 * Check whether (originator, seq) is already in the log, and record
 * it if not.
 *
 * @return true if the pair was already in the log (duplicate).
 */
bool broadcast_log_core_check_and_record(struct broadcast_log *log,
                                         uint8_t originator, uint16_t seq);

/**
 * Unconditionally record (originator, seq) in the log.
 */
void broadcast_log_core_record(struct broadcast_log *log,
                               uint8_t originator, uint16_t seq);

#endif /* BROADCAST_LOG_CORE_H_ */
```

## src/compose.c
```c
/*
 * Message composition — random sound/delay for each slot.
 */

#include <stdbool.h>
#include <errno.h>
#include <string.h>
#include <zephyr/random/random.h>

#include "compose.h"
#include "message.h"
#include "wrap_to_range.h"

static uint16_t g_delay_min_ms;
static uint16_t g_delay_max_ms;
static uint8_t g_first_sound;
static uint8_t g_num_sounds;
static bool g_initialized;

void compose_init(uint16_t delay_min_ms, uint16_t delay_max_ms,
                  uint8_t first_sound, uint8_t num_sounds)
{
    g_delay_min_ms = delay_min_ms;
    g_delay_max_ms = delay_max_ms;
    g_first_sound = first_sound;
    g_num_sounds = num_sounds;
    g_initialized = true;
}

void compose_set_delay(uint16_t delay_min_ms, uint16_t delay_max_ms)
{
    g_delay_min_ms = delay_min_ms;
    g_delay_max_ms = delay_max_ms;
}

void compose_get_delay(uint16_t *delay_min_ms, uint16_t *delay_max_ms)
{
    *delay_min_ms = g_delay_min_ms;
    *delay_max_ms = g_delay_max_ms;
}

int compose_message(uint8_t payload[16])
{
    if (!g_initialized) {
        return -EINVAL;
    }
    /* Need at least the local-only sound plus one assignable sound. */
    if (g_num_sounds < 2) {
        return -ENODATA;
    }

    /* Leaves seq/reserved bits zero; the mesh header seq is authoritative. */
    memset(payload, 0, 16);

    for (int slot = 0; slot < MESSAGE_SLOTS; slot++) {
        uint8_t sound = (uint8_t)wrap_to_range(sys_rand32_get(),
                                               g_first_sound,
                                               g_num_sounds - 1);
        uint16_t delay = (uint16_t)wrap_to_range(sys_rand32_get(),
                                                 g_delay_min_ms,
                                                 g_delay_max_ms);
        /* Boxes only ever compose goat sounds; misc comes from a Mac. */
        message_pack_slot(payload, slot, sound, MESSAGE_TYPE_GOAT, delay);
    }

    message_set_command(payload, MESSAGE_CMD_PLAY);
    return 0;
}
```

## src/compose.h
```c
/*
 * Message composition — fill a BLE message payload with a random sound and
 * delay for each slot.  Used when this device originates a broadcast (a
 * tissue pull).
 */

#ifndef COMPOSE_H_
#define COMPOSE_H_

#include <stdint.h>

/**
 * Store the delay range and sound range used to compose future messages.
 *
 * @param delay_min_ms  Minimum random delay in milliseconds.
 * @param delay_max_ms  Maximum random delay in milliseconds.
 * @param first_sound   Lowest sound index to assign (skips local-only sounds).
 * @param num_sounds    Number of available sounds.
 */
void compose_init(uint16_t delay_min_ms, uint16_t delay_max_ms,
                  uint8_t first_sound, uint8_t num_sounds);

/**
 * Update the delay range used to compose future messages.  The sound range
 * set by compose_init() is left unchanged.
 *
 * @param delay_min_ms  Minimum random delay in milliseconds.
 * @param delay_max_ms  Maximum random delay in milliseconds.
 */
void compose_set_delay(uint16_t delay_min_ms, uint16_t delay_max_ms);

/**
 * Get the delay range currently used to compose messages.
 *
 * @param[out] delay_min_ms  Current minimum random delay in milliseconds.
 * @param[out] delay_max_ms  Current maximum random delay in milliseconds.
 */
void compose_get_delay(uint16_t *delay_min_ms, uint16_t *delay_max_ms);

/**
 * Fill @p payload with a random (sound, delay) for every slot and set the
 * play command.
 *
 * @param[out] payload  16-byte message payload to populate.
 * @return 0 on success, or a negative errno if not initialized or fewer
 *         than two sounds are available.
 */
int compose_message(uint8_t payload[16]);

#endif /* COMPOSE_H_ */
```
